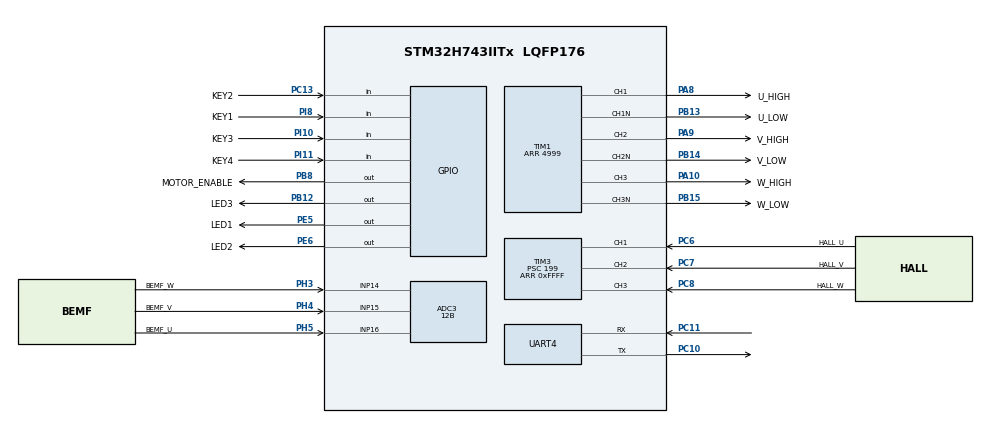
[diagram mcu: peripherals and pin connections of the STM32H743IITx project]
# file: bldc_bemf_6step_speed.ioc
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ADC3.Channel-3\#ChannelRegularConversion=ADC_CHANNEL_14
ADC3.ClockPrescalerADC3=ADC_CLOCK_ASYNC_DIV1
ADC3.ContinuousConvMode=DISABLE
ADC3.ConversionDataManagement=ADC_CONVERSIONDATA_DR
ADC3.DiscontinuousConvMode=DISABLE
ADC3.EOCSelection=ADC_EOC_SEQ_CONV
ADC3.EnableInjectedConversion=ENABLE
ADC3.EnableRegularConversion=ENABLE
ADC3.ExternalTrigInjecConv=ADC_EXTERNALTRIGINJEC_T1_CC4
ADC3.InjNumberOfConversion=3
ADC3.InjectedChannel-6\#ChannelInjectedConversion=ADC_CHANNEL_16
ADC3.InjectedChannel-7\#ChannelInjectedConversion=ADC_CHANNEL_15
ADC3.InjectedChannel-9\#ChannelInjectedConversion=ADC_CHANNEL_14
ADC3.InjectedOffsetNumber-6\#ChannelInjectedConversion=ADC_OFFSET_NONE
ADC3.InjectedOffsetNumber-7\#ChannelInjectedConversion=ADC_OFFSET_NONE
ADC3.InjectedOffsetNumber-9\#ChannelInjectedConversion=ADC_OFFSET_NONE
ADC3.InjectedOffsetSaturation-6\#ChannelInjectedConversion=DISABLE
ADC3.InjectedOffsetSaturation-7\#ChannelInjectedConversion=DISABLE
ADC3.InjectedOffsetSaturation-9\#ChannelInjectedConversion=DISABLE
ADC3.InjectedRank-6\#ChannelInjectedConversion=1
ADC3.InjectedRank-7\#ChannelInjectedConversion=2
ADC3.InjectedRank-9\#ChannelInjectedConversion=3
ADC3.InjectedSamplingTime-6\#ChannelInjectedConversion=ADC_SAMPLETIME_16CYCLES_5
ADC3.InjectedSamplingTime-7\#ChannelInjectedConversion=ADC_SAMPLETIME_16CYCLES_5
ADC3.InjectedSamplingTime-9\#ChannelInjectedConversion=ADC_SAMPLETIME_16CYCLES_5
ADC3.NbrOfConversion=1
ADC3.NbrOfConversionFlag=1
ADC3.NbrOfDiscConversion=3
ADC3.OffsetNumber-3\#ChannelRegularConversion=ADC_OFFSET_NONE
ADC3.Overrun=ADC_OVR_DATA_OVERWRITTEN
ADC3.OversamplingMode=DISABLE
ADC3.Rank-3\#ChannelRegularConversion=1
ADC3.Resolution=ADC_RESOLUTION_12B
ADC3.SamplingTime-3\#ChannelRegularConversion=ADC_SAMPLETIME_16CYCLES_5
CORTEX_M7.AccessPermission_Spec=MPU_REGION_FULL_ACCESS
CORTEX_M7.BaseAddress_Spec=0x24000000
CORTEX_M7.CPU_DCache=Enabled
CORTEX_M7.CPU_ICache=Enabled
CORTEX_M7.DisableExec_Spec=MPU_INSTRUCTION_ACCESS_ENABLE
CORTEX_M7.IsCacheable_Spec=MPU_ACCESS_CACHEABLE
CORTEX_M7.IsShareable_Spec=MPU_ACCESS_SHAREABLE
CORTEX_M7.MPU_Control=MPU_HFNMI_PRIVDEF
CORTEX_M7.Size_Spec=MPU_REGION_SIZE_512KB
CORTEX_M7.SubRegionDisable_Spec=0x00
CORTEX_M7.default_mode_Activation=1
Dma.Request0=UART4_RX
Dma.UART4_RX.0.Direction=DMA_PERIPH_TO_MEMORY
Dma.UART4_RX.0.EventEnable=DISABLE
Dma.UART4_RX.0.FIFOMode=DMA_FIFOMODE_DISABLE
Dma.UART4_RX.0.Instance=DMA1_Stream0
Dma.UART4_RX.0.MemDataAlignment=DMA_MDATAALIGN_BYTE
Dma.UART4_RX.0.MemInc=DMA_MINC_ENABLE
Dma.UART4_RX.0.Mode=DMA_NORMAL
Dma.UART4_RX.0.PeriphDataAlignment=DMA_PDATAALIGN_BYTE
Dma.UART4_RX.0.PeriphInc=DMA_PINC_DISABLE
Dma.UART4_RX.0.Polarity=HAL_DMAMUX_REQ_GEN_RISING
Dma.UART4_RX.0.Priority=DMA_PRIORITY_LOW
Dma.UART4_RX.0.RequestNumber=1
Dma.UART4_RX.0.SignalID=NONE
Dma.UART4_RX.0.SyncEnable=DISABLE
Dma.UART4_RX.0.SyncPolarity=HAL_DMAMUX_SYNC_NO_EVENT
Dma.UART4_RX.0.SyncRequestNumber=1
Dma.UART4_RX.0.SyncSignalID=NONE
Mcu.Family=STM32H7
Mcu.Name=STM32H743IITx
Mcu.Package=LQFP176
NVIC.ADC3_IRQn=true\:0\:1\:false\:false\:true\:true\:true\:true
NVIC.DMA1_Stream0_IRQn=true\:0\:0\:false\:false\:true\:false\:true\:true
NVIC.PriorityGroup=NVIC_PRIORITYGROUP_3
NVIC.TIM3_IRQn=true\:0\:1\:false\:false\:true\:true\:true\:true
NVIC.TIM6_DAC_IRQn=true\:0\:0\:false\:false\:true\:true\:true\:true
NVIC.UART4_IRQn=true\:1\:1\:true\:false\:true\:true\:true\:true
PA10.GPIO_Label=W_HIGH
PA10.GPIO_Speed=GPIO_SPEED_FREQ_HIGH
PA10.Signal=S_TIM1_CH3
PA13\ (JTMS/SWDIO).Mode=Serial_Wire
PA13\ (JTMS/SWDIO).Signal=DEBUG_JTMS-SWDIO
PA14\ (JTCK/SWCLK).Mode=Serial_Wire
PA14\ (JTCK/SWCLK).Signal=DEBUG_JTCK-SWCLK
PA8.GPIO_Label=U_HIGH
PA8.GPIO_Speed=GPIO_SPEED_FREQ_HIGH
PA8.Signal=S_TIM1_CH1
PA9.GPIO_Label=V_HIGH
PA9.GPIO_Speed=GPIO_SPEED_FREQ_HIGH
PA9.Signal=S_TIM1_CH2
PB12.GPIO_Label=LED3
PB12.Signal=GPIO_Output
PB13.GPIO_Label=U_LOW
PB13.GPIO_Speed=GPIO_SPEED_FREQ_HIGH
PB13.Mode=PWM Generation1 CH1 CH1N
PB13.Signal=TIM1_CH1N
PB14.GPIO_Label=V_LOW
PB14.GPIO_Speed=GPIO_SPEED_FREQ_HIGH
PB14.Mode=PWM Generation2 CH2 CH2N
PB14.Signal=TIM1_CH2N
PB15.GPIO_Label=W_LOW
PB15.GPIO_Speed=GPIO_SPEED_FREQ_HIGH
PB15.Mode=PWM Generation3 CH3 CH3N
PB15.Signal=TIM1_CH3N
PB8.GPIO_Label=MOTOR_ENABLE
PB8.GPIO_Speed=GPIO_SPEED_FREQ_HIGH
PB8.Signal=GPIO_Output
PC10.Mode=Asynchronous
PC10.Signal=UART4_TX
PC11.Mode=Asynchronous
PC11.Signal=UART4_RX
PC13.GPIO_Label=KEY2
PC13.Signal=GPIO_Input
PC6.GPIO_Label=HALL_U
PC6.Signal=S_TIM3_CH1
PC7.GPIO_Label=HALL_V
PC7.Signal=S_TIM3_CH2
PC8.GPIO_Label=HALL_W
PC8.Signal=S_TIM3_CH3
PE5.GPIO_Label=LED1
PE5.Signal=GPIO_Output
PE6.GPIO_Label=LED2
PE6.Signal=GPIO_Output
PH0-OSC_IN\ (PH0).Mode=HSE-External-Oscillator
PH0-OSC_IN\ (PH0).Signal=RCC_OSC_IN
PH1-OSC_OUT\ (PH1).Mode=HSE-External-Oscillator
PH1-OSC_OUT\ (PH1).Signal=RCC_OSC_OUT
PH3.GPIO_Label=BEMF_W
PH3.Mode=IN14-Single-Ended
PH3.Signal=ADC3_INP14
PH4.GPIO_Label=BEMF_V
PH4.Mode=IN15-Single-Ended
PH4.Signal=ADC3_INP15
PH5.GPIO_Label=BEMF_U
PH5.Mode=IN16-Single-Ended
PH5.Signal=ADC3_INP16
PI10.GPIO_Label=KEY3
PI10.Signal=GPIO_Input
PI11.GPIO_Label=KEY4
PI11.Signal=GPIO_Input
PI8.GPIO_Label=KEY1
PI8.Signal=GPIO_Input
ProjectManager.HeapSize=0x200
ProjectManager.StackSize=0x400
ProjectManager.TargetToolchain=MDK-ARM V5.32
RCC.ADCFreq_Value=25000000
RCC.APB1Freq_Value=100000000
RCC.APB2Freq_Value=100000000
RCC.APB3Freq_Value=100000000
RCC.APB4Freq_Value=100000000
RCC.CortexFreq_Value=400000000
RCC.D1PPRE=RCC_APB3_DIV2
RCC.D2PPRE1=RCC_APB1_DIV2
RCC.D2PPRE2=RCC_APB2_DIV2
RCC.D3PPRE=RCC_APB4_DIV2
RCC.DIVM1=2
RCC.DIVM2=2
RCC.DIVM3=2
RCC.DIVN1=64
RCC.DIVN2=12
RCC.DIVN3=4
RCC.DIVP2=6
RCC.HCLKFreq_Value=200000000
RCC.HPRE=RCC_HCLK_DIV2
RCC.PLL2FRACN=0
RCC.PLL3FRACN=0
RCC.PLLFRACN=0
RCC.PLLSourceVirtual=RCC_PLLSOURCE_HSE
RCC.PWR_Regulator_Voltage_Scale=PWR_REGULATOR_VOLTAGE_SCALE0
RCC.SYSCLKFreq_VALUE=400000000
RCC.SYSCLKSource=RCC_SYSCLKSOURCE_PLLCLK
RCC.USBFreq_Value=400000000
SH.S_TIM1_CH1.0=TIM1_CH1,PWM Generation1 CH1 CH1N
SH.S_TIM1_CH2.0=TIM1_CH2,PWM Generation2 CH2 CH2N
SH.S_TIM1_CH3.0=TIM1_CH3,PWM Generation3 CH3 CH3N
SH.S_TIM3_CH1.0=TIM3_CH1,Xored_Inputs_Hall_Sensor_Interface
SH.S_TIM3_CH2.0=TIM3_CH2,Xored_Inputs_Hall_Sensor_Interface
SH.S_TIM3_CH3.0=TIM3_CH3,Xored_Inputs_Hall_Sensor_Interface
STMicroelectronics.X-CUBE-ALGOBUILD.1.3.0.LibraryCcDSPOoLibraryJjDSPOoLibrary=true
TIM1.BreakState=TIM_BREAK_ENABLE
TIM1.Channel-Output\ Compare4\ No\ Output=TIM_CHANNEL_4
TIM1.Channel-PWM\ Generation1\ CH1\ CH1N=TIM_CHANNEL_1
TIM1.Channel-PWM\ Generation2\ CH2\ CH2N=TIM_CHANNEL_2
TIM1.Channel-PWM\ Generation3\ CH3\ CH3N=TIM_CHANNEL_3
TIM1.CounterMode=TIM_COUNTERMODE_CENTERALIGNED1
TIM1.DeadTime=0x28
TIM1.OC1Preload_PWM=ENABLE
TIM1.OC4Preload=ENABLE
TIM1.OCFastMode_PWM-PWM\ Generation1\ CH1\ CH1N=TIM_OCFAST_DISABLE
TIM1.OCFastMode_PWM-PWM\ Generation2\ CH2\ CH2N=TIM_OCFAST_DISABLE
TIM1.OCFastMode_PWM-PWM\ Generation3\ CH3\ CH3N=TIM_OCFAST_DISABLE
TIM1.OffStateIDLEMode=TIM_OSSI_ENABLE
TIM1.OffStateRunMode=TIM_OSSR_ENABLE
TIM1.Period=4999
TIM1.Pulse-Output\ Compare4\ No\ Output=10
TIM1.TIM_MasterOutputTrigger=TIM_TRGO_OC4REF
TIM1.TIM_MasterSlaveMode=TIM_MASTERSLAVEMODE_DISABLE
TIM3.AutoReloadPreload=TIM_AUTORELOAD_PRELOAD_ENABLE
TIM3.Commutation_Delay=3
TIM3.CounterMode=TIM_COUNTERMODE_CENTERALIGNED1
TIM3.IC1Filter=0x0E
TIM3.Period=0xFFFF
TIM3.Prescaler=199
TIM6.AutoReloadPreload=TIM_AUTORELOAD_PRELOAD_ENABLE
TIM6.Period=167
TIM6.Prescaler=(10000-1)
VP_STMicroelectronics.X-CUBE-ALGOBUILD_VS_DSPOoLibraryJjLibrary_1.3.0_1.3.0.Mode=DSPOoLibraryJjLibrary
VP_TIM1_VS_ClockSourceINT.Mode=Internal
VP_TIM1_VS_no_output4.Mode=Output Compare4 No Output
VP_TIM6_VS_ClockSourceINT.Mode=Enable_Timer
board=custom

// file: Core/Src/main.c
/* USER CODE BEGIN Header */
/**
  ******************************************************************************
  * @file           : main.c
  * @brief          : Main program body
  ******************************************************************************
  * @attention
  *
  * Copyright (c) 2024 STMicroelectronics.
  * All rights reserved.
  *
  * This software is licensed under terms that can be found in the LICENSE file
  * in the root directory of this software component.
  * If no LICENSE file comes with this software, it is provided AS-IS.
  *
  ******************************************************************************
  */
/* USER CODE END Header */
#include "main.h"
#include "adc.h"
#include "dma.h"
#include "tim.h"
#include "usart.h"
#include "gpio.h"

/* USER CODE BEGIN Includes */
#include "bsp_motor.h"
#include "bsp_hall.h"
#include "observer_bemf.h"
#include "protocol_niming_upper.h"
#include "protocol_uart_sei.h"
#include "algorithm_pid.h"
#include "algorithm_filtering.h"
#include "math.h"
#include "debug.h"
/* USER CODE END Includes */

/* USER CODE BEGIN PV */
MotorSta_Typedef global_motorsta;
MotorDir_Typedef global_motordir;
FOLPF_HandleTypeDef global_speed_hz;
PID_LOC_HandleTypedef motor_speed_pid;
uint32_t global_pwm_duty=500;
uint8_t global_state=0x00;
uint8_t uart_rx_buffer[UART_BUFFER_LEN];
UINT16_SINGLE_DATA_RING_BUFFER global_adc_bemf_u_buffer,global_adc_bemf_v_buffer,global_adc_bemf_w_buffer;
float32_t motor_control_val=0;
/* USER CODE END PV */

void SystemClock_Config(void);
void PeriphCommonClock_Config(void);
static void MPU_Config(void);

int main(void)
{

  /* MPU Configuration--------------------------------------------------------*/
  MPU_Config();

  /* Enable the CPU Cache */

  /* Enable I-Cache---------------------------------------------------------*/
  SCB_EnableICache();

  /* Enable D-Cache---------------------------------------------------------*/
  SCB_EnableDCache();

  /* MCU Configuration--------------------------------------------------------*/

  /* Reset of all peripherals, Initializes the Flash interface and the Systick. */
  HAL_Init();

  /* Configure the system clock */
  SystemClock_Config();

/* Configure the peripherals common clocks */
  PeriphCommonClock_Config();

  /* USER CODE BEGIN SysInit */
  SysTick_Config(SystemCoreClock/1000);

  LL_mDelay(200);

  /* USER CODE END SysInit */

  /* Initialize all configured peripherals */
  MX_GPIO_Init();
  MX_DMA_Init();
  MX_TIM1_Init();
  MX_ADC3_Init();
  MX_UART4_Init();
  MX_TIM3_Init();
  MX_TIM6_Init();
  /* USER CODE BEGIN 2 */

  // HALLSENSOR_TIMxStart(TIM3);
  global_motorsta=MOTOR_STA_DISABLE;

  FLOAT_FirstOrderLowPassFiltering_DataInit(&global_speed_hz,SPEED_HZ_FILTERING_ALPHA);
  UINT16_SINGLE_InitRingBuf(&global_adc_bemf_u_buffer);
  UINT16_SINGLE_InitRingBuf(&global_adc_bemf_v_buffer);
  UINT16_SINGLE_InitRingBuf(&global_adc_bemf_w_buffer);

  PID_LOC_Init(&motor_speed_pid,round(0./60.*PPR),0.75f,0.45f,0.f);

  __HAL_UART_ENABLE_IT(&huart4,UART_IT_IDLE);
  HAL_UART_Receive_DMA(&huart4,(uint8_t *)uart_rx_buffer,UART_BUFFER_LEN);
  /* USER CODE END 2 */

  /* Infinite loop */
  /* USER CODE BEGIN WHILE */
  MOTOR_BEMFStart(TIM1);
  BEMF_ADCxStart(&hadc3);
  BEMF_TIMxStart(&htim6);

  // MOTOR_HallStart(TIM1,TIM3);
  while (1)
  {
    Protocol_UARTxRXProcess();

    if(GPIO_PIN_RESET==LL_GPIO_IsInputPinSet(KEY1_GPIO_Port,KEY1_Pin)){
      MOTOR_ENABLE();
      global_motorsta=MOTOR_STA_ENABLE;
    }

    if(GPIO_PIN_RESET==LL_GPIO_IsInputPinSet(KEY2_GPIO_Port,KEY2_Pin)){

#if BREAKING_INERTIA
      MOTOR_Breaking_Inertia();
#endif
      /*speed_duty or control_val must be zero when motor enable*/
      /********if not motor will shake while motor runing********/
      motor_control_val=0;
      MOTOR_SpeedControl(TIM1,round(motor_control_val));

      global_speed_hz.current_val = 0;
      global_speed_hz.last_val    = 0;
      motor_speed_pid.control_val = 0;
      motor_speed_pid.err         = 0;
      motor_speed_pid.err_last    = 0;
      motor_speed_pid.integral    = 0;
    }
#if 0
    if(global_state&0x01){
      global_speed_hz.current_val=HALLSENSOR_SpeedFrequency_Hz();
      FLOAT_FirstOrderLowPassFiltering_Process(&global_speed_hz);
      if(0==global_speed_hz.current_val){
        uint8_t hall_phase=0;
        hall_phase=HALLSENSOR_GetPhase();

#if BREAKING_INERTIA
        /*aim to phase when motor enable*/
        global_pwm_duty=30;
#endif
        MOTOR_SixStepPhaseChange(TIM1,hall_phase);
        LL_TIM_GenerateEvent_COM(TIM1);
      }
      motor_control_val=PID_LOC_Process(&motor_speed_pid,global_speed_hz.current_val);
      MOTOR_SpeedControl(TIM1,round(motor_control_val));
      global_state&=~0x01;
    }
#endif
    if(global_state&0x02){
      if(MOTOR_STA_DISABLE==global_motorsta){
        global_speed_hz.current_val=HALLSENSOR_SpeedFrequency_Hz();
        FLOAT_FirstOrderLowPassFiltering_Process(&global_speed_hz);
      }
      Protocol_NIMING_Mortor(&huart4,0xF1,global_speed_hz.current_val,global_speed_hz.current_val/PPR,(global_speed_hz.current_val/PPR)*60);
      global_state&=~0x02;
    }
    /* USER CODE END WHILE */

  }
}

void SystemClock_Config(void)
{
  LL_FLASH_SetLatency(LL_FLASH_LATENCY_2);
  while(LL_FLASH_GetLatency()!= LL_FLASH_LATENCY_2)
  {
  }
  LL_PWR_ConfigSupply(LL_PWR_LDO_SUPPLY);
  LL_PWR_SetRegulVoltageScaling(LL_PWR_REGU_VOLTAGE_SCALE0);
  while (LL_PWR_IsActiveFlag_VOS() == 0)
  {
  }
  LL_RCC_HSE_Enable();

   /* Wait till HSE is ready */
  while(LL_RCC_HSE_IsReady() != 1)
  {

  }
  LL_RCC_PLL_SetSource(LL_RCC_PLLSOURCE_HSE);
  LL_RCC_PLL1P_Enable();
  LL_RCC_PLL1R_Enable();
  LL_RCC_PLL1_SetVCOInputRange(LL_RCC_PLLINPUTRANGE_8_16);
  LL_RCC_PLL1_SetVCOOutputRange(LL_RCC_PLLVCORANGE_WIDE);
  LL_RCC_PLL1_SetM(2);
  LL_RCC_PLL1_SetN(64);
  LL_RCC_PLL1_SetP(2);
  LL_RCC_PLL1_SetQ(2);
  LL_RCC_PLL1_SetR(2);
  LL_RCC_PLL1_Enable();

   /* Wait till PLL is ready */
  while(LL_RCC_PLL1_IsReady() != 1)
  {
  }

   /* Intermediate AHB prescaler 2 when target frequency clock is higher than 80 MHz */
   LL_RCC_SetAHBPrescaler(LL_RCC_AHB_DIV_2);

  LL_RCC_SetSysClkSource(LL_RCC_SYS_CLKSOURCE_PLL1);

   /* Wait till System clock is ready */
  while(LL_RCC_GetSysClkSource() != LL_RCC_SYS_CLKSOURCE_STATUS_PLL1)
  {

  }
  LL_RCC_SetSysPrescaler(LL_RCC_SYSCLK_DIV_1);
  LL_RCC_SetAHBPrescaler(LL_RCC_AHB_DIV_2);
  LL_RCC_SetAPB1Prescaler(LL_RCC_APB1_DIV_2);
  LL_RCC_SetAPB2Prescaler(LL_RCC_APB2_DIV_2);
  LL_RCC_SetAPB3Prescaler(LL_RCC_APB3_DIV_2);
  LL_RCC_SetAPB4Prescaler(LL_RCC_APB4_DIV_2);
  LL_SetSystemCoreClock(400000000);

   /* Update the time base */
  if (HAL_InitTick (TICK_INT_PRIORITY) != HAL_OK)
  {
    Error_Handler();
  }
}

void PeriphCommonClock_Config(void)
{
  LL_RCC_PLL2P_Enable();
  LL_RCC_PLL2_SetVCOInputRange(LL_RCC_PLLINPUTRANGE_8_16);
  LL_RCC_PLL2_SetVCOOutputRange(LL_RCC_PLLVCORANGE_MEDIUM);
  LL_RCC_PLL2_SetM(2);
  LL_RCC_PLL2_SetN(12);
  LL_RCC_PLL2_SetP(6);
  LL_RCC_PLL2_SetQ(2);
  LL_RCC_PLL2_SetR(2);
  LL_RCC_PLL2_Enable();

   /* Wait till PLL is ready */
  while(LL_RCC_PLL2_IsReady() != 1)
  {
  }

}

 /* MPU Configuration */

void MPU_Config(void)
{

  /* Disables the MPU */
  LL_MPU_Disable();

  /** Initializes and configures the Region and the memory to be protected
  */
  LL_MPU_ConfigRegion(LL_MPU_REGION_NUMBER0, 0x00, 0x24000000, LL_MPU_REGION_SIZE_512KB|LL_MPU_TEX_LEVEL0|LL_MPU_REGION_FULL_ACCESS|LL_MPU_INSTRUCTION_ACCESS_ENABLE|LL_MPU_ACCESS_SHAREABLE|LL_MPU_ACCESS_CACHEABLE|LL_MPU_ACCESS_NOT_BUFFERABLE);
  /* Enables the MPU */
  LL_MPU_Enable(LL_MPU_CTRL_HFNMI_PRIVDEF);

}

void Error_Handler(void)
{
  __disable_irq();
  while (1)
  {
  }
}
